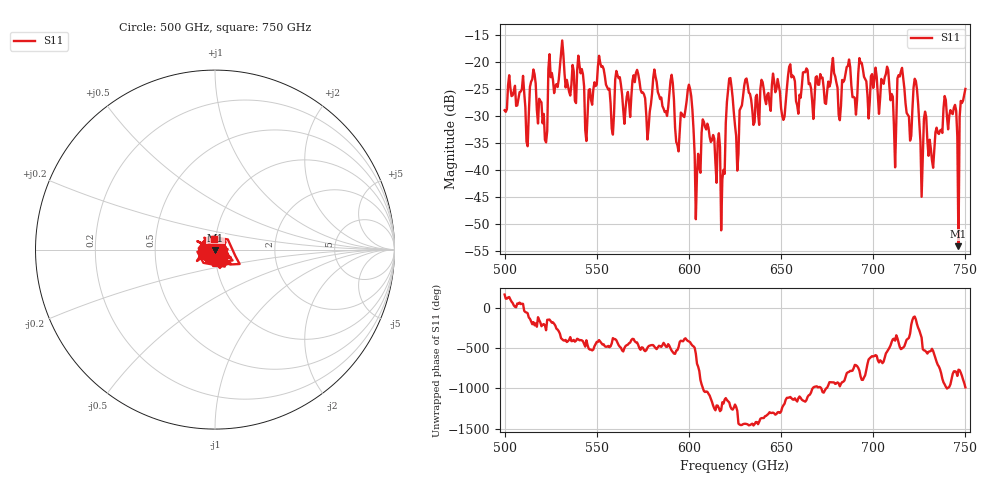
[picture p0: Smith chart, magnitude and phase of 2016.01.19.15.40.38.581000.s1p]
!Created with skrf (http://scikit-rf.org).
# GHz S RI R 50.0
!freq ReS11 ImS11
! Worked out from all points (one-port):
!   401 points, 500 GHz to 750 GHz, reference 50 ohm
!   lowest |S11| = -54.1 dB at 746.2 GHz (marker M1), VSWR 1.00, Z = 50.1 - j0.147 ohm
!   |S11| at or under -10 dB: start of sweep to end of sweep
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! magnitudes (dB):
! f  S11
! 500 GHz  -28.9
! 512.5 GHz  -35.6
! 515.6 GHz  -21.4
! 521.9 GHz  -34.4
! 525 GHz  -22.8
! 531.2 GHz  -16.0
! 545 GHz  -29.7
! 551.9 GHz  -20.1
! 558.1 GHz  -32.3
! 562.5 GHz  -22.8
! 578.1 GHz  -32.1
! 590.6 GHz  -22.3
! 593.8 GHz  -35.4
! 600 GHz  -24.2
! 605 GHz  -37.0
! 608.8 GHz  -32.0
! 618.1 GHz  -41.7
! 621.9 GHz  -23.0
! 625 GHz  -31.7
! 630.6 GHz  -23.2
! 656.2 GHz  -22.5
! 687.5 GHz  -20.9
! 707.5 GHz  -20.8
! 711.2 GHz  -32.0
! 715 GHz  -21.7
! 718.8 GHz  -29.8
! 746.2 GHz  -54.1
! 750 GHz  -25.0
